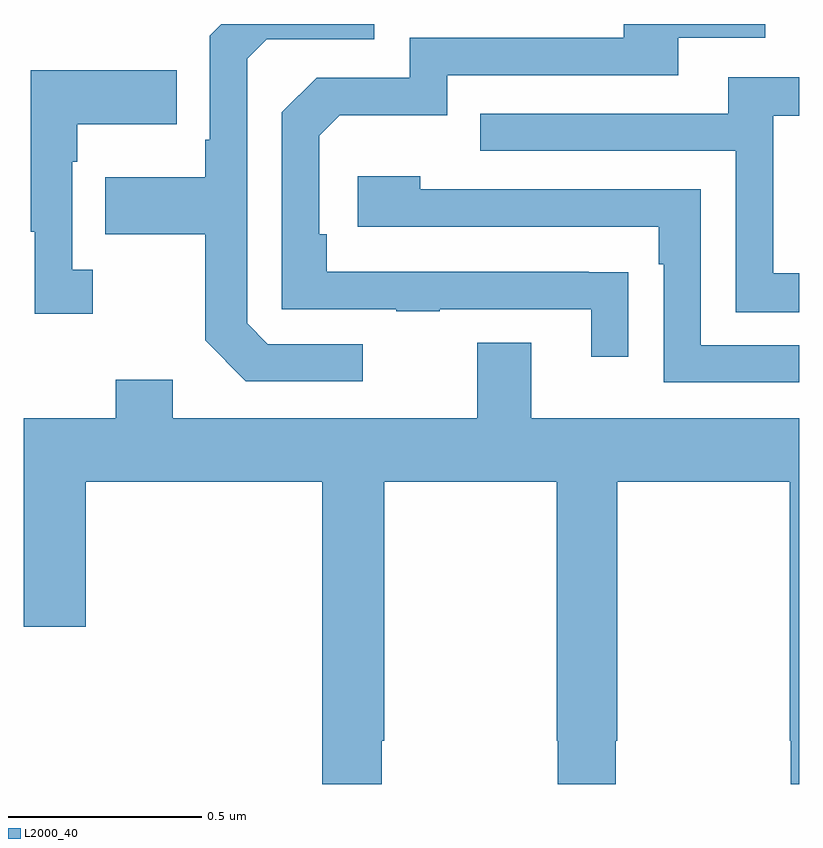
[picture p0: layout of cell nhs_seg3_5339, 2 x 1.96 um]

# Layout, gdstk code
import gdstk
lib = gdstk.Library(unit=1e-6, precision=1e-09)
def P(c, l, *ps):  # polygons
    for p in ps: c.add(gdstk.Polygon(p, *l))
L2000_40 = (2000, 40)

nhs_seg3_5339 = lib.new_cell('nhs_seg3_5339')
P(nhs_seg3_5339, L2000_40, [(178.559,730.76),(178.457,730.76),(178.457,730.761),(177.782,730.761),(177.782,730.858),(177.762,730.858),(177.762,731.112),(177.815,731.165),(178.092,731.165),(178.092,731.268),(178.687,731.268),(178.687,731.364),(178.912,731.364),(178.912,731.4),(178.547,731.4),(178.547,731.364),(177.996,731.364),(177.996,731.262),(177.756,731.262),(177.666,731.172),(177.666,730.665),(177.961,730.665),(177.961,730.66),(178.073,730.66),(178.073,730.665),(178.463,730.665),(178.463,730.542),(178.559,730.542)],
  [(177.874,730.575),(177.63,730.575),(177.576,730.629),(177.576,731.31),(177.627,731.361),(177.904,731.361),(177.904,731.4),(177.51,731.4),(177.48,731.37),(177.48,731.101),(177.468,731.101),(177.468,731.005),(177.211,731.005),(177.211,730.858),(177.468,730.858),(177.468,730.585),(177.573,730.479),(177.874,730.479)],
  [(177.178,730.766),(177.126,730.766),(177.126,731.045),(177.139,731.045),(177.139,731.141),(177.395,731.141),(177.395,731.281),(177.018,731.281),(177.018,730.865),(177.029,730.865),(177.029,730.653),(177.178,730.653)],
  [(179,730.758),(178.932,730.758),(178.932,731.163),(179,731.163),(179,731.263),(178.817,731.263),(178.817,731.169),(178.177,731.169),(178.177,731.073),(178.836,731.073),(178.836,730.657),(179,730.657)],
  [(179,730.572),(178.746,730.572),(178.746,730.974),(178.022,730.974),(178.022,731.008),(177.861,731.008),(177.861,730.878),(178.637,730.878),(178.637,730.781),(178.65,730.781),(178.65,730.476),(179,730.476)],
  [(177.923,729.553),(177.93,729.553),(177.93,730.22),(178.375,730.22),(178.375,729.553),(178.377,729.553),(178.377,729.441),(178.527,729.441),(178.527,729.553),(178.53,729.553),(178.53,730.22),(178.975,730.22),(178.975,729.553),(178.977,729.553),(178.977,729.441),(179,729.441),(179,730.384),(178.309,730.384),(178.309,730.579),(178.169,730.579),(178.169,730.384),(177.385,730.384),(177.385,730.483),(177.238,730.483),(177.238,730.384),(177,730.384),(177,729.846),(177.16,729.846),(177.16,730.22),(177.77,730.22),(177.77,729.441),(177.923,729.441)])

lib.write_gds('nhs_seg3_5339.gds')
